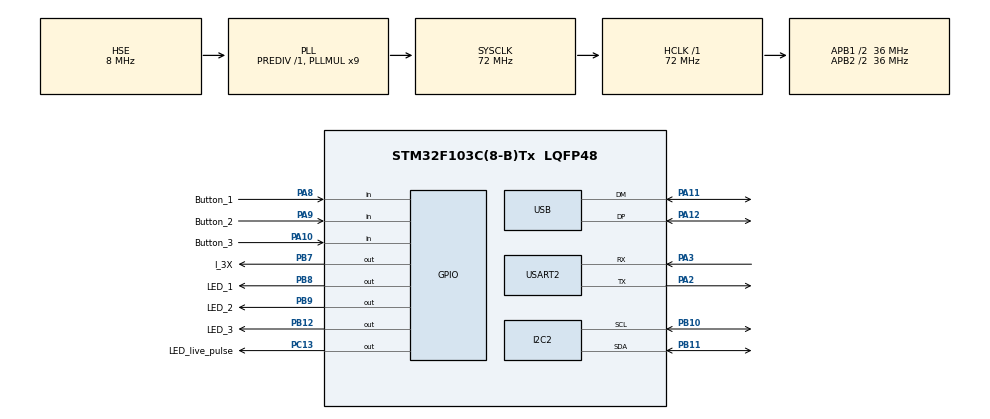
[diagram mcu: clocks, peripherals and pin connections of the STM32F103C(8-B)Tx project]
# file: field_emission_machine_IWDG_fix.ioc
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FREERTOS.BinarySemaphores01=myBinarySem01,Dynamic,NULL,Available
FREERTOS.Queues01=Queue,16,uint16_t,0,Dynamic,NULL,NULL
FREERTOS.Tasks01=Measure,8,256,StartDefaultTask,Default,NULL,Dynamic,NULL,NULL;computerConnect,40,256,StartTask02,Default,NULL,Dynamic,NULL,NULL
FREERTOS.Timers01=myTimer01,Callback01,osTimerPeriodic,Default,NULL,Dynamic,NULL
FREERTOS.configUSE_IDLE_HOOK=1
Mcu.Family=STM32F1
Mcu.Name=STM32F103C(8-B)Tx
Mcu.Package=LQFP48
NVIC.I2C2_EV_IRQn=true\:10\:0\:true\:false\:true\:true\:true\:true\:true
NVIC.PriorityGroup=NVIC_PRIORITYGROUP_4
NVIC.TIM4_IRQn=true\:15\:0\:false\:false\:true\:false\:false\:true\:true
NVIC.TimeBase=TIM4_IRQn
NVIC.TimeBaseIP=TIM4
NVIC.USB_LP_CAN1_RX0_IRQn=true\:5\:0\:false\:false\:true\:true\:false\:true\:true
PA10.GPIO_Label=Button_3
PA10.Signal=GPIO_Input
PA11.Mode=Device
PA11.Signal=USB_DM
PA12.Mode=Device
PA12.Signal=USB_DP
PA13.Mode=Serial_Wire
PA13.Signal=SYS_JTMS-SWDIO
PA14.Mode=Serial_Wire
PA14.Signal=SYS_JTCK-SWCLK
PA2.Mode=Asynchronous
PA2.Signal=USART2_TX
PA3.Mode=Asynchronous
PA3.Signal=USART2_RX
PA8.GPIO_Label=Button_1
PA8.Signal=GPIO_Input
PA9.GPIO_Label=Button_2
PA9.Signal=GPIO_Input
PB10.Mode=I2C
PB10.Signal=I2C2_SCL
PB11.Mode=I2C
PB11.Signal=I2C2_SDA
PB12.GPIO_Label=LED_3
PB12.Signal=GPIO_Output
PB7.GPIO_Label=I_3X
PB7.Signal=GPIO_Output
PB8.GPIO_Label=LED_1
PB8.Signal=GPIO_Output
PB9.GPIO_Label=LED_2
PB9.Signal=GPIO_Output
PC13-TAMPER-RTC.GPIO_Label=LED_live_pulse
PC13-TAMPER-RTC.Signal=GPIO_Output
PD0-OSC_IN.Mode=HSE-External-Oscillator
PD0-OSC_IN.Signal=RCC_OSC_IN
PD1-OSC_OUT.Mode=HSE-External-Oscillator
PD1-OSC_OUT.Signal=RCC_OSC_OUT
ProjectManager.HeapSize=0x400
ProjectManager.StackSize=0x800
ProjectManager.TargetToolchain=EWARM V8.32
RCC.AHBFreq_Value=72000000
RCC.APB1CLKDivider=RCC_HCLK_DIV2
RCC.APB1Freq_Value=36000000
RCC.APB1TimFreq_Value=72000000
RCC.APB2CLKDivider=RCC_HCLK_DIV2
RCC.APB2Freq_Value=36000000
RCC.APB2TimFreq_Value=72000000
RCC.HCLKFreq_Value=72000000
RCC.PLLMUL=RCC_PLL_MUL9
RCC.SYSCLKFreq_VALUE=72000000
RCC.SYSCLKSource=RCC_SYSCLKSOURCE_PLLCLK
RCC.USBFreq_Value=48000000
RCC.USBPrescaler=RCC_USBCLKSOURCE_PLL_DIV1_5
USART2.VirtualMode=VM_ASYNC
USB_DEVICE.CLASS_NAME_FS=CDC
USB_DEVICE.USBD_SELF_POWERED=0
USB_DEVICE.VirtualMode=Cdc
USB_DEVICE.VirtualModeFS=Cdc_FS
VP_FREERTOS_VS_CMSIS_V2.Mode=CMSIS_V2
VP_IWDG_VS_IWDG.Mode=IWDG_Activate
VP_SYS_VS_tim4.Mode=TIM4
VP_USB_DEVICE_VS_USB_DEVICE_CDC_FS.Mode=CDC_FS
board=custom

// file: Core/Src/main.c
/* USER CODE BEGIN Header */
/**
  ******************************************************************************
  * @file           : main.c
  * @brief          : Main program body
  ******************************************************************************
  * @attention
  *
  * Copyright (c) 2026 STMicroelectronics.
  * All rights reserved.
  *
  * This software is licensed under terms that can be found in the LICENSE file
  * in the root directory of this software component.
  * If no LICENSE file comes with this software, it is provided AS-IS.
  *
  ******************************************************************************
  */
/* USER CODE END Header */
#include "main.h"
#include "cmsis_os.h"
#include "usb_device.h"

/* USER CODE BEGIN Includes */
#include "DAC_control.h"
#include "ADC_control.h"
#include "comm_control.h"
#include "communication_logic.h"
#include "usbd_cdc_if.h"
/* USER CODE END Includes */

/* USER CODE BEGIN PD */
#define SWEEP_STEP_MS  50
#define MAX_POINTS 500
/*---------------------------------------------------------Main variables----------------------------------------*/
float start_voltage = 0.0f;
float end_voltage = 2000.0f;
float max_current = 0.0f;
float step = 10.0f;

int number_of_points_in_scan = 0;
int number_of_points_in_scan_delay = 0;
int npcc = 0;
volatile uint8_t is_scanning = 0;
volatile uint32_t step_delay = 100;
int16_t buffer_ch0[MAX_POINTS];
int16_t buffer_ch1[MAX_POINTS];
uint16_t points_captured = 0;

  volatile uint16_t start_v = 0;
  volatile uint16_t stop_v = 0;
  volatile uint16_t step_v = 0;
  volatile uint16_t delay_v = 0;

/* USER CODE END PD */

I2C_HandleTypeDef hi2c2;

IWDG_HandleTypeDef hiwdg;

UART_HandleTypeDef huart2;

/* Definitions for Measure */
osThreadId_t MeasureHandle;
const osThreadAttr_t Measure_attributes = {
  .name = "Measure",
  .stack_size = 256 * 4,
  .priority = (osPriority_t) osPriorityLow,
};
/* Definitions for computerConnect */
osThreadId_t computerConnectHandle;
const osThreadAttr_t computerConnect_attributes = {
  .name = "computerConnect",
  .stack_size = 256 * 4,
  .priority = (osPriority_t) osPriorityHigh,
};
/* Definitions for Queue */
osMessageQueueId_t QueueHandle;
const osMessageQueueAttr_t Queue_attributes = {
  .name = "Queue"
};
/* Definitions for myTimer01 */
osTimerId_t myTimer01Handle;
const osTimerAttr_t myTimer01_attributes = {
  .name = "myTimer01"
};
/* Definitions for myBinarySem01 */
osSemaphoreId_t myBinarySem01Handle;
const osSemaphoreAttr_t myBinarySem01_attributes = {
  .name = "myBinarySem01"
};
/* USER CODE BEGIN PV */
extern ADC_Handle hadc_ext;
uint8_t rx_buffer[5]; // ????? ??? ??????: Header + Cmd + DataHigh + DataLow + Checksum
/* USER CODE END PV */

void SystemClock_Config(void);
static void MX_GPIO_Init(void);
static void MX_I2C2_Init(void);
static void MX_IWDG_Init(void);
static void MX_USART2_UART_Init(void);
void StartDefaultTask(void *argument);
void StartTask02(void *argument);
void Callback01(void *argument);

int main(void)
{

  /* MCU Configuration--------------------------------------------------------*/

  /* Reset of all peripherals, Initializes the Flash interface and the Systick. */
  HAL_Init();

  /* Configure the system clock */
  SystemClock_Config();

  /* Initialize all configured peripherals */
  MX_GPIO_Init();
  MX_I2C2_Init();
  MX_IWDG_Init();
  MX_USART2_UART_Init();
  /* USER CODE BEGIN 2 */
  ADC_Init(&hadc_ext, &hi2c2, ADS1115_PGA_4096, ADS1115_SPS_128);
  MX_USB_DEVICE_Init();

  /* USER CODE END 2 */

  /* Init scheduler */
  osKernelInitialize();

  /* Create the semaphores(s) */
  /* creation of myBinarySem01 */
  myBinarySem01Handle = osSemaphoreNew(1, 1, &myBinarySem01_attributes);

  /* Create the timer(s) */
  /* creation of myTimer01 */
  myTimer01Handle = osTimerNew(Callback01, osTimerPeriodic, NULL, &myTimer01_attributes);

  /* Create the queue(s) */
  /* creation of Queue */
  QueueHandle = osMessageQueueNew (16, sizeof(uint16_t), &Queue_attributes);

  /* Create the thread(s) */
  /* creation of Measure */
  MeasureHandle = osThreadNew(StartDefaultTask, NULL, &Measure_attributes);

  /* creation of computerConnect */
  computerConnectHandle = osThreadNew(StartTask02, NULL, &computerConnect_attributes);

  /* Start scheduler */
  osKernelStart();

  /* We should never get here as control is now taken by the scheduler */

  /* Infinite loop */
  while (1)
  {

    /* USER CODE BEGIN 3 */
    // ADC_ReadAllChannels(&hadc_ext);
    osDelay(100);
  }

  /* USER CODE END 3 */
}

void SystemClock_Config(void)
{
  RCC_OscInitTypeDef RCC_OscInitStruct = {0};
  RCC_ClkInitTypeDef RCC_ClkInitStruct = {0};
  RCC_PeriphCLKInitTypeDef PeriphClkInit = {0};

  /** Initializes the RCC Oscillators according to the specified parameters
  * in the RCC_OscInitTypeDef structure.
  */
  RCC_OscInitStruct.OscillatorType = RCC_OSCILLATORTYPE_LSI|RCC_OSCILLATORTYPE_HSE;
  RCC_OscInitStruct.HSEState = RCC_HSE_ON;
  RCC_OscInitStruct.HSEPredivValue = RCC_HSE_PREDIV_DIV1;
  RCC_OscInitStruct.HSIState = RCC_HSI_ON;
  RCC_OscInitStruct.LSIState = RCC_LSI_ON;
  RCC_OscInitStruct.PLL.PLLState = RCC_PLL_ON;
  RCC_OscInitStruct.PLL.PLLSource = RCC_PLLSOURCE_HSE;
  RCC_OscInitStruct.PLL.PLLMUL = RCC_PLL_MUL9;
  if (HAL_RCC_OscConfig(&RCC_OscInitStruct) != HAL_OK)
  {
    Error_Handler();
  }

  /** Initializes the CPU, AHB and APB buses clocks
  */
  RCC_ClkInitStruct.ClockType = RCC_CLOCKTYPE_HCLK|RCC_CLOCKTYPE_SYSCLK
                              |RCC_CLOCKTYPE_PCLK1|RCC_CLOCKTYPE_PCLK2;
  RCC_ClkInitStruct.SYSCLKSource = RCC_SYSCLKSOURCE_PLLCLK;
  RCC_ClkInitStruct.AHBCLKDivider = RCC_SYSCLK_DIV1;
  RCC_ClkInitStruct.APB1CLKDivider = RCC_HCLK_DIV2;
  RCC_ClkInitStruct.APB2CLKDivider = RCC_HCLK_DIV2;

  if (HAL_RCC_ClockConfig(&RCC_ClkInitStruct, FLASH_LATENCY_2) != HAL_OK)
  {
    Error_Handler();
  }
  PeriphClkInit.PeriphClockSelection = RCC_PERIPHCLK_USB;
  PeriphClkInit.UsbClockSelection = RCC_USBCLKSOURCE_PLL_DIV1_5;
  if (HAL_RCCEx_PeriphCLKConfig(&PeriphClkInit) != HAL_OK)
  {
    Error_Handler();
  }
}

static void MX_I2C2_Init(void)
{

  hi2c2.Instance = I2C2;
  hi2c2.Init.ClockSpeed = 100000;
  hi2c2.Init.DutyCycle = I2C_DUTYCYCLE_2;
  hi2c2.Init.OwnAddress1 = 0;
  hi2c2.Init.AddressingMode = I2C_ADDRESSINGMODE_7BIT;
  hi2c2.Init.DualAddressMode = I2C_DUALADDRESS_DISABLE;
  hi2c2.Init.OwnAddress2 = 0;
  hi2c2.Init.GeneralCallMode = I2C_GENERALCALL_DISABLE;
  hi2c2.Init.NoStretchMode = I2C_NOSTRETCH_DISABLE;
  if (HAL_I2C_Init(&hi2c2) != HAL_OK)
  {
    Error_Handler();
  }

}

static void MX_IWDG_Init(void)
{

  hiwdg.Instance = IWDG;
  hiwdg.Init.Prescaler = IWDG_PRESCALER_4;
  hiwdg.Init.Reload = 4095;
  if (HAL_IWDG_Init(&hiwdg) != HAL_OK)
  {
    Error_Handler();
  }

}

static void MX_USART2_UART_Init(void)
{

  huart2.Instance = USART2;
  huart2.Init.BaudRate = 115200;
  huart2.Init.WordLength = UART_WORDLENGTH_8B;
  huart2.Init.StopBits = UART_STOPBITS_1;
  huart2.Init.Parity = UART_PARITY_NONE;
  huart2.Init.Mode = UART_MODE_TX_RX;
  huart2.Init.HwFlowCtl = UART_HWCONTROL_NONE;
  huart2.Init.OverSampling = UART_OVERSAMPLING_16;
  if (HAL_UART_Init(&huart2) != HAL_OK)
  {
    Error_Handler();
  }

}

static void MX_GPIO_Init(void)
{
  GPIO_InitTypeDef GPIO_InitStruct = {0};

  /* GPIO Ports Clock Enable */
  __HAL_RCC_GPIOC_CLK_ENABLE();
  __HAL_RCC_GPIOD_CLK_ENABLE();
  __HAL_RCC_GPIOA_CLK_ENABLE();
  __HAL_RCC_GPIOB_CLK_ENABLE();

  /*Configure GPIO pin Output Level */
  HAL_GPIO_WritePin(LED_live_pulse_GPIO_Port, LED_live_pulse_Pin, GPIO_PIN_RESET);

  /*Configure GPIO pin Output Level */
  HAL_GPIO_WritePin(GPIOB, LED_3_Pin|I_3X_Pin|LED_1_Pin|LED_2_Pin, GPIO_PIN_RESET);

  /*Configure GPIO pin : LED_live_pulse_Pin */
  GPIO_InitStruct.Pin = LED_live_pulse_Pin;
  GPIO_InitStruct.Mode = GPIO_MODE_OUTPUT_PP;
  GPIO_InitStruct.Pull = GPIO_NOPULL;
  GPIO_InitStruct.Speed = GPIO_SPEED_FREQ_LOW;
  HAL_GPIO_Init(LED_live_pulse_GPIO_Port, &GPIO_InitStruct);

  /*Configure GPIO pins : LED_3_Pin I_3X_Pin LED_1_Pin LED_2_Pin */
  GPIO_InitStruct.Pin = LED_3_Pin|I_3X_Pin|LED_1_Pin|LED_2_Pin;
  GPIO_InitStruct.Mode = GPIO_MODE_OUTPUT_PP;
  GPIO_InitStruct.Pull = GPIO_NOPULL;
  GPIO_InitStruct.Speed = GPIO_SPEED_FREQ_LOW;
  HAL_GPIO_Init(GPIOB, &GPIO_InitStruct);

  /*Configure GPIO pins : Button_1_Pin Button_2_Pin Button_3_Pin */
  GPIO_InitStruct.Pin = Button_1_Pin|Button_2_Pin|Button_3_Pin;
  GPIO_InitStruct.Mode = GPIO_MODE_INPUT;
  GPIO_InitStruct.Pull = GPIO_NOPULL;
  HAL_GPIO_Init(GPIOA, &GPIO_InitStruct);

}

/* USER CODE BEGIN 4 */

void USB_SendADCData(int16_t *channels) {
    uint8_t report[10];
    report[0] = 0xBB; // ????????? ?????? ????? (????????? ??? 0xAA)
    report[1] = 0x01; // ??? ?????: ???

    // ??????? 4 ?????? (?? 2 ????? ?? ?????)
    for(int i = 0; i < 4; i++) {
        report[2 + (i*2)] = (uint8_t)(channels[i] >> 8);
        report[3 + (i*2)] = (uint8_t)(channels[i] & 0xFF);
    }

    CDC_Transmit_FS(report, 10);
}

void SmartDelay(uint16_t delay_ms) {
    for (uint16_t i = 0; i < delay_ms; i++) {
        if (is_scanning == 0) return; // ???? ??????? ???? — ??????? ????????
        osDelay(1); // ??????? ????? ? 1 ??
    }
}

/* USER CODE END 4 */

void StartDefaultTask(void *argument)
{
  for(;;)
  {
    if (is_scanning == 1)
    {
      for (uint16_t v = start_v; v <= stop_v; v += step_v)
      {
        if (is_scanning == 0) break;

        DAC_SetVoltage(v);

        // 1. ??????? ???????????? (????? ??? ????????)
        SmartDelay(delay_v);

        if (is_scanning == 0) break; // ????????? ????? ???????????

        // 2. ???????? ???? ? ????? ????????
        int16_t raw0 = ADC_ReadChannel(&hadc_ext, 0);
        int16_t raw1 = ADC_ReadChannel(&hadc_ext, 1);

        // 3. ???????????? ????? ?????
        char data_msg[64];
        int len = sprintf(data_msg, "D:%hu;A0:%d;A1:%d\r\n", v, raw0, raw1);
        CDC_Transmit_FS((uint8_t*)data_msg, len);
      }

      DAC_SetVoltage(0);
      is_scanning = 0;

      uint8_t msg[] = "DONE\r\n";
      CDC_Transmit_FS(msg, 6);
    }
    osDelay(10);
  }
}

void StartTask02(void *argument)
{
  /* USER CODE BEGIN StartTask02 */

  for(;;)
  {
  HAL_IWDG_Refresh(&hiwdg); // ??????? ?????? ?????????? ?? "?????" ??????
  osDelay(100);
  }
  /* USER CODE END StartTask02 */
}

/* Callback01 function */
void Callback01(void *argument)
{
}

void HAL_TIM_PeriodElapsedCallback(TIM_HandleTypeDef *htim)
{
  if (htim->Instance == TIM4)
  {
    HAL_IncTick();
  }
}

void Error_Handler(void)
{
  __disable_irq();
  while (1)
  {
  }
}

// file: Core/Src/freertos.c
/* USER CODE BEGIN Header */
/**
  ******************************************************************************
  * File Name          : freertos.c
  * Description        : Code for freertos applications
  ******************************************************************************
  * @attention
  *
  * Copyright (c) 2026 STMicroelectronics.
  * All rights reserved.
  *
  * This software is licensed under terms that can be found in the LICENSE file
  * in the root directory of this software component.
  * If no LICENSE file comes with this software, it is provided AS-IS.
  *
  ******************************************************************************
  */
/* USER CODE END Header */

#include "FreeRTOS.h"
#include "task.h"
#include "main.h"

/* USER CODE BEGIN Includes */
extern IWDG_HandleTypeDef hiwdg;
/* USER CODE END Includes */

/* Hook prototypes */
void vApplicationIdleHook(void);

/* USER CODE BEGIN 2 */
void vApplicationIdleHook( void )
{
   /* vApplicationIdleHook() will only be called if configUSE_IDLE_HOOK is set
   to 1 in FreeRTOSConfig.h. It will be called on each iteration of the idle
   task. It is essential that code added to this hook function never attempts
   to block in any way (for example, call xQueueReceive() with a block time
   specified, or call vTaskDelay()). If the application makes use of the
   vTaskDelete() API function (as this demo application does) then it is also
   important that vApplicationIdleHook() is permitted to return to its calling
   function, because it is the responsibility of the idle task to clean up
   memory allocated by the kernel to any task that has since been deleted. */

  HAL_IWDG_Refresh(&hiwdg);

}
/* USER CODE END 2 */
